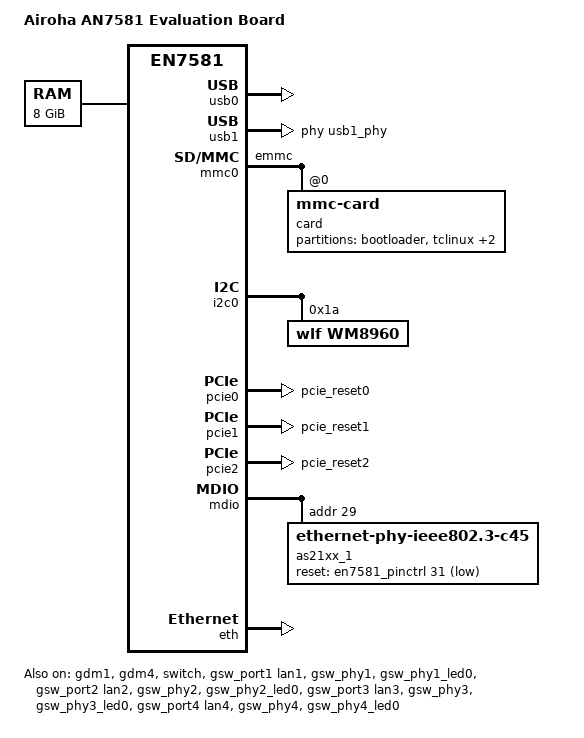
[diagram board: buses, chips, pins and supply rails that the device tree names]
// SPDX-License-Identifier: (GPL-2.0-only OR BSD-2-Clause)
/dts-v1/;

/* Bootloader installs ATF here */
/memreserve/ 0x80000000 0x200000;

#include <dt-bindings/leds/common.h>
#include <dt-bindings/gpio/gpio.h>
#include "an7581.dtsi"

/ {
	model = "Airoha AN7581 Evaluation Board";
	compatible = "airoha,an7581-evb", "airoha,an7581", "airoha,en7581";

	aliases {
		serial0 = &uart1;
	};

	chosen {
		bootargs = "console=ttyS0,115200 earlycon";
		stdout-path = "serial0:115200n8";
		linux,usable-memory-range = <0x0 0x80200000 0x0 0x1fe00000>;
	};

	memory@80000000 {
		device_type = "memory";
		reg = <0x0 0x80000000 0x2 0x00000000>;
	};
};

&sound {
	audio-routing = "Headphone", "HP_L",
			"Headphone", "HP_R",
			"LINPUT1", "AMIC",
			"RINPUT1", "AMIC";

	status = "okay";

	codec {
		sound-dai = <&wm8960>;
	};
};

&en7581_pinctrl {
	gpio-ranges = <&en7581_pinctrl 0 13 47>;

	mdio_pins: mdio-pins {
		mux {
			function = "mdio";
			groups = "mdio";
		};

		conf {
			pins = "gpio2";
			output-high;
		};
	};

	pcie0_rst_pins: pcie0-rst-pins {
		conf {
			pins = "pcie_reset0";
			drive-open-drain = <1>;
		};
	};

	pcie1_rst_pins: pcie1-rst-pins {
		conf {
			pins = "pcie_reset1";
			drive-open-drain = <1>;
		};
	};

	pcie2_rst_pins: pcie2-rst-pins {
		conf {
			pins = "pcie_reset2";
			drive-open-drain = <1>;
		};
	};

	gswp1_led0_pins: gswp1-led0-pins {
		mux {
			function = "phy1_led0";
			pins = "gpio33";
		};
	};

	gswp2_led0_pins: gswp2-led0-pins {
		mux {
			function = "phy2_led0";
			pins = "gpio34";
		};
	};

	gswp3_led0_pins: gswp3-led0-pins {
		mux {
			function = "phy3_led0";
			pins = "gpio35";
		};
	};

	gswp4_led0_pins: gswp4-led0-pins {
		mux {
			function = "phy4_led0";
			pins = "gpio42";
		};
	};

	pwm_gpio18_idx10_pins: pwm-gpio18-idx10-pins {
		function = "pwm";
		pins = "gpio18";
		output-enable;
	};

	mmc_pins: mmc-pins {
		mux {
			function = "emmc";
			groups = "emmc";
		};
	};
};

&usb0 {
	status = "okay";
};

&usb1 {
	status = "okay";

	mediatek,u3p-dis-msk = <0x1>;
	phys = <&usb1_phy PHY_TYPE_USB2>;
};

&mmc0 {
	pinctrl-names = "default", "state_uhs";
	pinctrl-0 = <&mmc_pins>;
	pinctrl-1 = <&mmc_pins>;
	status = "okay";

	#address-cells = <1>;
	#size-cells = <0>;

	card@0 {
		compatible = "mmc-card";
		reg = <0>;

		partitions {
			compatible = "fixed-partitions";
			#address-cells = <1>;
			#size-cells = <1>;

			bootloader@0 {
				label = "bootloader";
				reg = <0x00000000 0x00080000>;
			};

			tclinux@80000 {
				label = "tclinux";
				reg = <0x00080000 0x02800000>;
			};

			tclinux_slave@2880000 {
				label = "tclinux_slave";
				reg = <0x02880000 0x02800000>;
			};

			rootfs_data@5080000 {
				label = "rootfs_data";
				reg = <0x5080000 0x00800000>;
			};
		};
	};
};

&i2c0 {
	status = "okay";

	wm8960: codec@1a {
		compatible = "wlf,wm8960";
		reg = <0x1a>;
	};
};

&pcie0 {
	pinctrl-names = "default";
	pinctrl-0 = <&pcie0_rst_pins>;
	status = "okay";
};

&pcie1 {
	pinctrl-names = "default";
	pinctrl-0 = <&pcie1_rst_pins>;
	status = "okay";
};

&pcie2 {
	pinctrl-names = "default";
	pinctrl-0 = <&pcie2_rst_pins>;
	status = "okay";
};

&mdio {
	as21xx_1: ethernet-phy@1d {
		compatible = "ethernet-phy-ieee802.3-c45";
		reg = <0x1d>;

		firmware-name = "as21x1x_fw.bin";

		reset-deassert-us = <1000000>;
		reset-assert-us = <1000000>;
		reset-gpios = <&en7581_pinctrl 31 GPIO_ACTIVE_LOW>;

		leds {
			#address-cells = <1>;
			#size-cells = <0>;

			led@0 {
				reg = <0>;
				color = <LED_COLOR_ID_GREEN>;
				function = LED_FUNCTION_LAN;
				function-enumerator = <0>;
				default-state = "keep";
			};

			led@1 {
				reg = <1>;
				color = <LED_COLOR_ID_GREEN>;
				function = LED_FUNCTION_LAN;
				function-enumerator = <1>;
				default-state = "keep";
			};
		};
	};
};

&eth {
	status = "okay";
};

&gdm1 {
	status = "okay";
};

&gdm4 {
	status = "okay";

	phy-handle = <&as21xx_1>;
	phy-mode = "usxgmii";
};

&switch {
	pinctrl-names = "default";
	pinctrl-0 = <&mdio_pins>;
	status = "okay";
};

&gsw_port1 {
	status = "okay";
	label = "lan1";
};

&gsw_phy1 {
	pinctrl-names = "gbe-led";
	pinctrl-0 = <&gswp1_led0_pins>;
	status = "okay";
};

&gsw_phy1_led0 {
	status = "okay";
	function = LED_FUNCTION_LAN;
};

&gsw_port2 {
	status = "okay";
	label = "lan2";
};

&gsw_phy2 {
	pinctrl-names = "gbe-led";
	pinctrl-0 = <&gswp2_led0_pins>;
	status = "okay";
};

&gsw_phy2_led0 {
	status = "okay";
	function = LED_FUNCTION_LAN;
};

&gsw_port3 {
	status = "okay";
	label = "lan3";
};

&gsw_phy3 {
	pinctrl-names = "gbe-led";
	pinctrl-0 = <&gswp3_led0_pins>;
	status = "okay";
};

&gsw_phy3_led0 {
	status = "okay";
	function = LED_FUNCTION_LAN;
};

&gsw_port4 {
	status = "okay";
	label = "lan4";
};

&gsw_phy4 {
	pinctrl-names = "gbe-led";
	pinctrl-0 = <&gswp4_led0_pins>;
	status = "okay";
};

&gsw_phy4_led0 {
	status = "okay";
	function = LED_FUNCTION_LAN;
};
